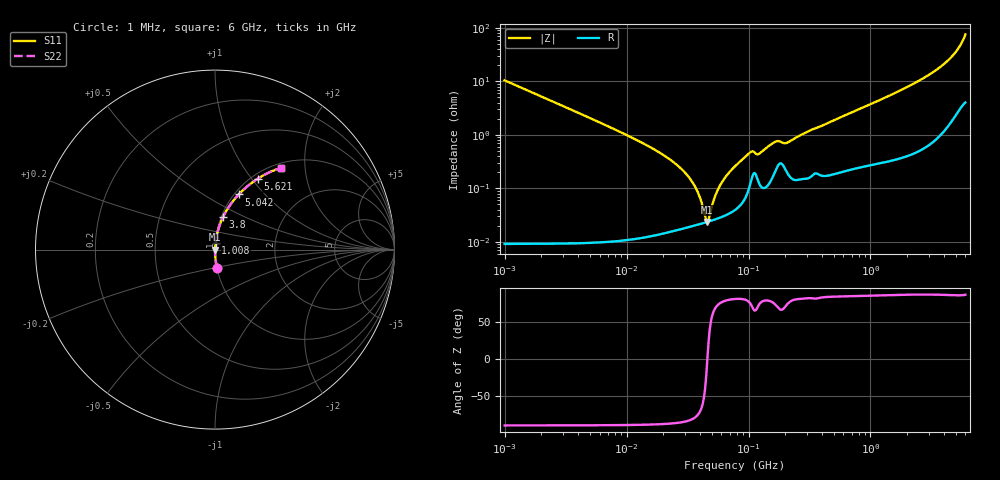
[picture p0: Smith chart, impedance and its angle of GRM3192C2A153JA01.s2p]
!Murata Part Number: GRM3192C2A153JA01
!These Parameters are Measured in Series Mode Connection
!Data Generated on Mar 30, 2021
!  o--ll--o
!Port1  Port2
!  o------o
!Operation Temp=25[degC], DC Bias Voltage=0[V]
!Freq. Start=1000[kHz] Stop=6[GHz] 401[Steps]
# Hz S RI R 50
!Freq.(Hz) S11(Real) S11(Imag) S21(Real) S21(Imag) S12(Real) S12(Imag) S22(Real) S22(Imag)
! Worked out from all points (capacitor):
!   401 points, 1 MHz to 6 GHz, reference 50 ohm
!   read as one part in series: C = 15.2 nF near 1.044 MHz
!   lowest |Z| = 23.6 mohm at 45.96 MHz (marker M1)
!   series resonance near 45.97 MHz, so ESL is about 790 pH
!   S11 on the Smith chart (normalised r, x): 1 MHz: 1.00, -0.21; 1.008 GHz: 1.01, +0.08; 3.8 GHz: 1.02, +0.38; 5.042 GHz: 1.05, +0.72; 5.621 GHz: 1.07, +1.07; 6 GHz: 1.08, +1.50
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1000000  0.0109 -0.1035  0.9891 0.1035  0.9891 0.1035  0.0109 -0.1035
4293785  0.000678 -0.0241  0.9993 0.0241  0.9993 0.0241  0.000678 -0.0241
1.843659e7  0.00016 -0.00474  0.9998 0.00474  0.9998 0.00474  0.00016 -0.00474
2.610999e7  0.000173 -0.00269  0.9998 0.00269  0.9998 0.00269  0.000173 -0.00269
3.316698e7  0.000194 -0.0015  0.9998 0.0015  0.9998 0.0015  0.000194 -0.0015
3.8621e7  0.000211 -0.000791  0.9998 0.000791  0.9998 0.000791  0.000211 -0.000791
4.400437e7  0.000229 -0.000198  0.9998 0.000198  0.9998 0.000198  0.000229 -0.000198
4.596069e7  0.000236 -1.1e-06  0.9998 1.1e-06  0.9998 1.1e-06  0.000236 -1.1e-06
4.800399e7  0.000244 0.000196  0.9998 -0.000196  0.9998 -0.000196  0.000244 0.000196
5.838291e7  0.000285 0.0011  0.9997 -0.0011  0.9997 -0.0011  0.000285 0.0011
7.745967e7  0.0004 0.00256  0.9996 -0.00256  0.9996 -0.00256  0.0004 0.00256
1.050294e8  0.0014 0.00462  0.9986 -0.00462  0.9986 -0.00462  0.0014 0.00462
1.223006e8  0.00124 0.00426  0.9988 -0.00426  0.9988 -0.00426  0.00124 0.00426
1.658303e8  0.00214 0.00712  0.9979 -0.00712  0.9979 -0.00712  0.00214 0.00712
2.061188e8  0.00206 0.00678  0.9979 -0.00678  0.9979 -0.00678  0.00206 0.00678
3.325952e8  0.00188 0.0125  0.9981 -0.0125  0.9981 -0.0125  0.00188 0.0125
1.008394e9  0.00411 0.0374  0.9959 -0.0374  0.9959 -0.0374  0.00411 0.0374
1.428092e9  0.00609 0.0535  0.9939 -0.0535  0.9939 -0.0535  0.00609 0.0535
3.800129e9  0.0444 0.1812  0.9556 -0.1812  0.9556 -0.1812  0.0444 0.1812
5.04183e9  0.132 0.3071  0.868 -0.3071  0.868 -0.3071  0.132 0.3071
5.62102e9  0.2369 0.3943  0.7631 -0.3943  0.7631 -0.3943  0.2369 0.3943
6e9  0.3688 0.4564  0.6312 -0.4564  0.6312 -0.4564  0.3688 0.4564
